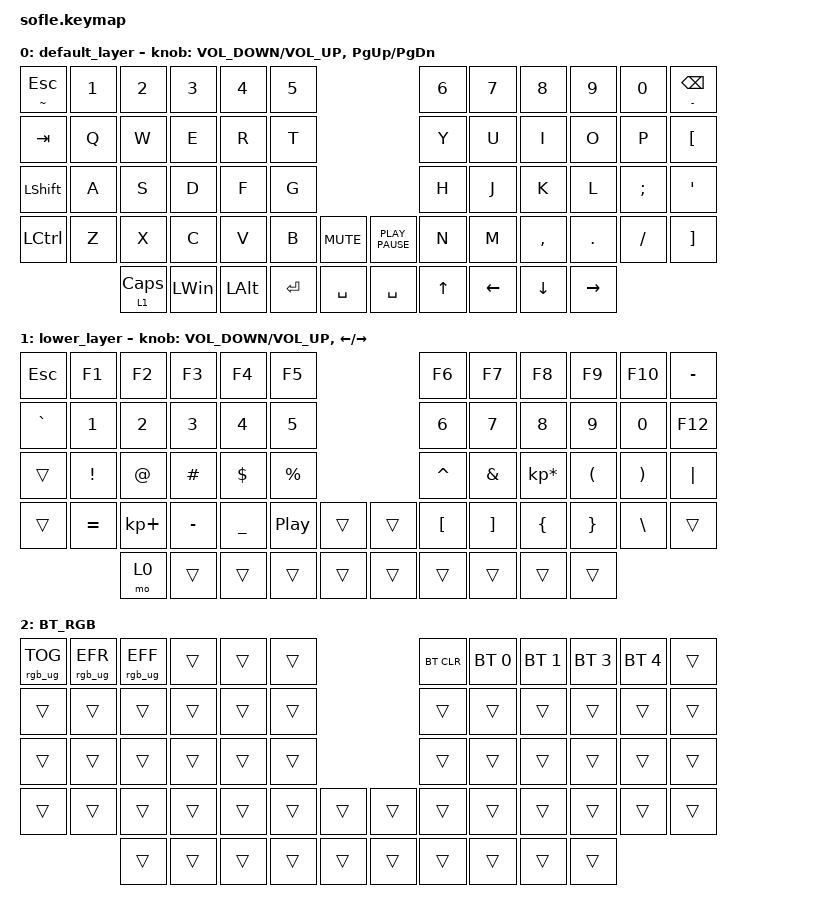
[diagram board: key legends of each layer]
/*
 * Copyright (c) 2020 The ZMK Contributors
 *
 * SPDX-License-Identifier: MIT
 */

#include <behaviors.dtsi>
#include <dt-bindings/zmk/bt.h>
#include <dt-bindings/zmk/keys.h>
#include <dt-bindings/zmk/rgb.h>

/ {
    combos { compatible = "zmk,combos"; };

    keymap {
        compatible = "zmk,keymap";

        default_layer {
            // ------------------------------------------------------------------------------------------------------------
            // |  `    |  1  |  2  |  3   |  4   |  5   |                   |  6   |  7    |  8    |  9   |   0   |       |
            // |  ESC  |  Q  |  W  |  E   |  R   |  T   |                   |  Y   |  U    |  I    |  O   |   P   | BKSPC |
            // |  TAB  |  A  |  S  |  D   |  F   |  G   |                   |  H   |  J    |  K    |  L   |   ;   |   '   |
            // | SHIFT |  Z  |  X  |  C   |  V   |  B   |  MUTE  |  |       |  N   |  M    |  ,    |  .   |   /   | SHIFT |
            //               | GUI | ALT  | CTRL | LOWER|  ENTER |  | SPACE | RAISE| CTRL  | ALT   | GUI  |

            bindings = <
&mt TILDE ESCAPE  &kp N1  &kp N2      &kp N3        &kp N4        &kp N5                                   &kp N6        &kp N7          &kp N8          &kp N9           &kp N0    &mt MINUS BACKSPACE
&kp TAB           &kp Q   &kp W       &kp E         &kp R         &kp T                                    &kp Y         &kp U           &kp I           &kp O            &kp P     &kp LBKT
&kp LSHFT         &kp A   &kp S       &kp D         &kp F         &kp G                                    &kp H         &kp J           &kp K           &kp L            &kp SEMI  &kp SQT
&kp LCTRL         &kp Z   &kp X       &kp C         &kp V         &kp B      &kp C_MUTE  &kp K_PLAY_PAUSE  &kp N         &kp M           &kp COMMA       &kp DOT          &kp FSLH  &kp RBKT
                          &lt 1 CAPS  &kp LEFT_WIN  &kp LEFT_ALT  &kp ENTER  &kp SPACE   &kp SPACE         &kp UP_ARROW  &kp LEFT_ARROW  &kp DOWN_ARROW  &kp RIGHT_ARROW
            >;

            sensor-bindings =
                <&inc_dec_kp C_VOLUME_DOWN C_VOLUME_UP>,
                <&inc_dec_kp PAGE_UP PAGE_DOWN>;
        };

        lower_layer {
            // TODO: Some binds are waiting for shifted keycode support.
            // ------------------------------------------------------------------------------------------------------------
            // |       |  F1 |  F2 |  F3  |  F4  |  F5  |                   |  F6  |  F7   |  F8   |  F9  |  F10  |  F11  |
            // | `     |   1 |   2 |   3  |   4  |   5  |                   |   6  |   7   |   8   |   9  |    0  |  F12  |
            // |       |  !  |  @  |  #   |  $   |  %   |                   |  ^   |  &    |  *    |  (   |   )   |   |   |
            // |       |  =  |  -  |  +   |  {   |  }   |        |  |       |  [   |  ]    |  ;    |  :   |   \   |       |
            //               |     |      |      |      |        |  |       |      |       |       |      |

            bindings = <
&kp ESCAPE  &kp F1     &kp F2       &kp F3     &kp F4     &kp F5                            &kp F6     &kp F7    &kp F8           &kp F9           &kp F10   &kp MINUS
&kp GRAVE   &kp N1     &kp N2       &kp N3     &kp N4     &kp N5                            &kp N6     &kp N7    &kp N8           &kp NUMBER_9     &kp N0    &kp F12
&trans      &kp EXCL   &kp AT       &kp HASH   &kp DLLR   &kp PRCNT                         &kp CARET  &kp AMPS  &kp KP_MULTIPLY  &kp LPAR         &kp RPAR  &kp PIPE
&trans      &kp EQUAL  &kp KP_PLUS  &kp MINUS  &kp UNDER  &kp C_PLAY_PAUSE  &trans  &trans  &kp LBKT   &kp RBKT  &kp LEFT_BRACE   &kp RIGHT_BRACE  &kp BSLH  &trans
                       &mo 0        &trans     &trans     &trans            &trans  &trans  &trans     &trans    &trans           &trans
            >;

            sensor-bindings =
                <&inc_dec_kp C_VOLUME_DOWN C_VOLUME_UP>,
                <&inc_dec_kp LEFT_ARROW RIGHT_ARROW>;
        };

        BT_RGB {
            bindings = <
&rgb_ug RGB_TOG  &rgb_ug RGB_EFR  &rgb_ug RGB_EFF  &trans  &trans  &trans                  &bt BT_CLR  &bt BT_SEL 0  &bt BT_SEL 1  &bt BT_SEL 3  &bt BT_SEL 4  &trans
&trans           &trans           &trans           &trans  &trans  &trans                  &trans      &trans        &trans        &trans        &trans        &trans
&trans           &trans           &trans           &trans  &trans  &trans                  &trans      &trans        &trans        &trans        &trans        &trans
&trans           &trans           &trans           &trans  &trans  &trans  &trans  &trans  &trans      &trans        &trans        &trans        &trans        &trans
                                  &trans           &trans  &trans  &trans  &trans  &trans  &trans      &trans        &trans        &trans
            >;
        };
    };
};
